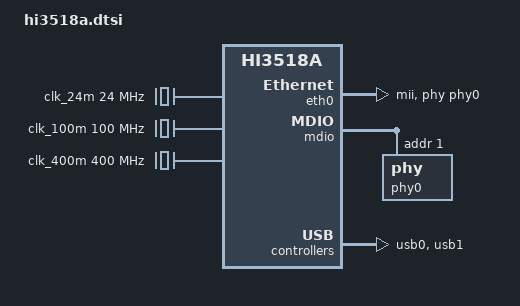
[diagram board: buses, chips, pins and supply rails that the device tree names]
// SPDX-License-Identifier: GPL-2.0-or-later
// Copyright (c) 2023 Jonathan Neuschäfer
//
// HiSilicon HI3518A V100 SoC

/ {
	#address-cells = <1>;
	#size-cells = <1>;
	interrupt-parent = <&vic0>;

	cpus {
		#address-cells = <1>;
		#size-cells = <0>;

		cpu@0 {
			device_type = "cpu";
			compatible = "arm,arm926ej-s";
			reg = <0>;
		};
	};

	aliases {
		serial0 = &uart0;
		serial1 = &uart1;
		serial2 = &uart2;
	};

	clk_24m: clock-24m {
		compatible = "fixed-clock";
		#clock-cells = <0>;
		clock-frequency = <24000000>;
		clock-accuracy = <100>;
	};

	clk_100m: clock-100m {
		compatible = "fixed-clock";
		#clock-cells = <0>;
		clock-frequency = <100000000>;
		clock-accuracy = <100>;
	};

	clk_400m: clock-400m {
		compatible = "fixed-clock";
		#clock-cells = <0>;
		clock-frequency = <400000000>;
		clock-accuracy = <100>;
	};

	soc {
		#address-cells = <1>;
		#size-cells = <1>;
		compatible = "simple-bus";
		ranges;

		sfc: spi@10010000 {
			compatible = "hisilicon,hi3518-sfc";
			reg = <0x10010000 0x1000>;
			status = "disabled";
			#address-cells = <1>;
			#size-cells = <0>;
		};

		eth0: ethernet@10090000 {
			compatible = "hisilicon,hisi-femac-v1";
			reg = <0x10090000 0x1000>,<0x10091300 0x200>;
			interrupts = <12>;
			clocks = <&clk_400m>;
			//resets = <&crg 0xec 0>,<&crg 0xec 3>;
			//reset-names = "mac","phy";
			//mac-address = [00 00 00 00 00 00];
			phy-mode = "mii";
			phy-handle = <&phy0>;
			//hisilicon,phy-reset-delays-us = <10000 20000 20000>;
		};

		mdio: mdio@10091100 {
			compatible = "hisilicon,hisi-femac-mdio";
			reg = <0x10091100 0x10>;
			clocks = <&clk_400m>;
			#address-cells = <1>;
			#size-cells = <0>;

			phy0: phy@1 {
				reg = <1>;
			};
		};

		usb0: usb@100a0000 {
			compatible = "generic-ohci";
			reg = <0x100a0000 0x1000>;
			interrupts = <16>;
			clocks = <&clk_100m>;
		};

		usb1: usb@100b0000 {
			compatible = "generic-ehci";
			reg = <0x100b0000 0x1000>;
			interrupts = <15>;
			clocks = <&clk_100m>;
		};

		vic0: interrupt-controller@10140000 {
			compatible = "arm,pl192-vic", "arm,primecell";
			reg = <0x10140000 0x1000>;
			interrupt-controller;
			#interrupt-cells = <1>;
		};

		timer01: timer@20000000 {
			compatible = "arm,sp804", "arm,primecell";
			reg = <0x20000000 0x1000>;
			clock-names = "apb_pclk";
			clocks = <&clk_100m>;
			interrupts = <3>;
		};

		timer23: timer@20010000 {
			compatible = "arm,sp804", "arm,primecell";
			reg = <0x20010000 0x1000>;
			interrupts = <4>;
			status = "disabled";
		};

		clk: clock-controller@20030000 {
			compatible = "hisilicon,hi3518a-crg";
			reg = <0x20030000 0x1000>;
		};

		wdt0: watchdog@20040000 {
			compatible = "arm,sp805", "arm,primecell";
			reg = <0x20040000 0x1000>;
			interrupts = <1>;
			clocks = <&clk_100m>, <&clk_100m>;
			clock-names = "wdog_clk", "apb_pclk";
		};

		uart0: serial@20080000 {
			compatible = "arm,pl010", "arm,primecell";
			reg = <0x20080000 0x1000>;
			reg-io-width = <4>;
			interrupts = <5>;
			clock-names = "uart_clk", "apb_pclk";
			clocks = <&clk_24m>, <&clk_400m>;
			status = "disabled";
		};

		uart1: serial@20090000 {
			compatible = "arm,pl010", "arm,primecell";
			reg = <0x20090000 0x1000>;
			interrupts = <5>;
			status = "disabled";
		};

		uart2: serial@200a0000 {
			compatible = "arm,pl011", "arm,primecell";
			reg = <0x200a0000 0x1000>;
			interrupts = <25>;
			status = "disabled";
		};
	};
};
